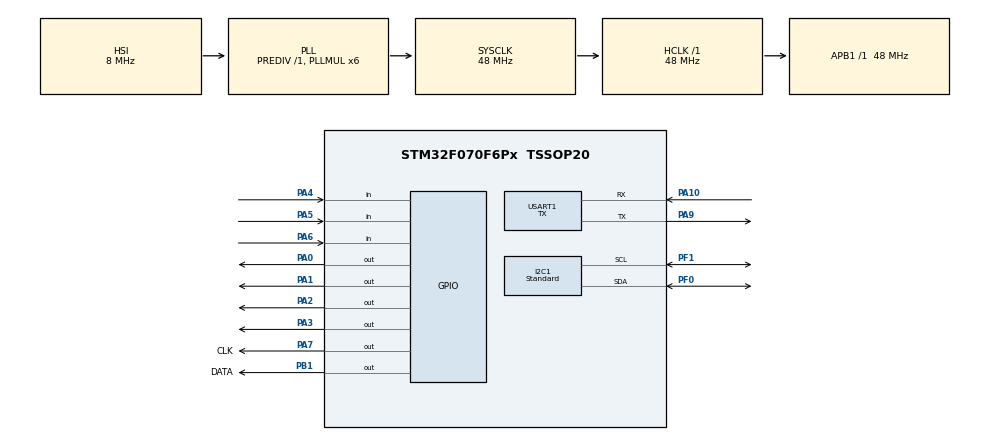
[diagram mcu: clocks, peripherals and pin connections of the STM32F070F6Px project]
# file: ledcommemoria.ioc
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I2C1.I2C_Speed_Mode=I2C_Standard
I2C1.Timing=0x2000090E
Mcu.Family=STM32F0
Mcu.Name=STM32F070F6Px
Mcu.Package=TSSOP20
PA0.Signal=GPIO_Output
PA1.Signal=GPIO_Output
PA10.Mode=Asynchronous
PA10.Signal=USART1_RX
PA13.Mode=Serial_Wire
PA13.Signal=SYS_SWDIO
PA14.Mode=Serial_Wire
PA14.Signal=SYS_SWCLK
PA2.Signal=GPIO_Output
PA3.Signal=GPIO_Output
PA4.GPIO_PuPd=GPIO_PULLUP
PA4.Signal=GPIO_Input
PA5.GPIO_PuPd=GPIO_PULLUP
PA5.Signal=GPIO_Input
PA6.GPIO_PuPd=GPIO_PULLUP
PA6.Signal=GPIO_Input
PA7.GPIO_Label=CLK
PA7.GPIO_PuPd=GPIO_NOPULL
PA7.GPIO_Speed=GPIO_SPEED_FREQ_HIGH
PA7.PinState=GPIO_PIN_RESET
PA7.Signal=GPIO_Output
PA9.Mode=Asynchronous
PA9.Signal=USART1_TX
PB1.GPIO_Label=DATA
PB1.GPIO_PuPd=GPIO_NOPULL
PB1.GPIO_Speed=GPIO_SPEED_FREQ_HIGH
PB1.PinState=GPIO_PIN_RESET
PB1.Signal=GPIO_Output
PF0-OSC_IN.Mode=I2C
PF0-OSC_IN.Signal=I2C1_SDA
PF1-OSC_OUT.Mode=I2C
PF1-OSC_OUT.Signal=I2C1_SCL
ProjectManager.HeapSize=0x200
ProjectManager.StackSize=0x400
ProjectManager.TargetToolchain=STM32CubeIDE
RCC.AHBFreq_Value=48000000
RCC.APB1Freq_Value=48000000
RCC.APB1TimFreq_Value=48000000
RCC.HCLKFreq_Value=48000000
RCC.PLLMUL=RCC_PLL_MUL6
RCC.SYSCLKFreq_VALUE=48000000
RCC.SYSCLKSource=RCC_SYSCLKSOURCE_PLLCLK
USART1.Mode=MODE_TX
USART1.OneBitSampling=UART_ONE_BIT_SAMPLE_ENABLE
USART1.OverSampling=UART_OVERSAMPLING_8
USART1.VirtualMode=VM_ASYNC
board=custom

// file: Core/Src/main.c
/* USER CODE BEGIN Header */
/**
  ******************************************************************************
  * @file           : main.c
  * @brief          : Main program body
  ******************************************************************************
  * @attention
  *
  * Copyright (c) 2022 STMicroelectronics.
  * All rights reserved.
  *
  * This software is licensed under terms that can be found in the LICENSE file
  * in the root directory of this software component.
  * If no LICENSE file comes with this software, it is provided AS-IS.
  *
  ******************************************************************************
  */
/* USER CODE END Header */
#include "main.h"

/* USER CODE BEGIN Includes */
#include "TM1637.h"
#include "EEPROM.h"
/* USER CODE END Includes */

I2C_HandleTypeDef hi2c1;

UART_HandleTypeDef huart1;

/* USER CODE BEGIN PV */
extern I2C_HandleTypeDef hi2c1;
#define EEPROM_I2C &hi2c1

// EEPROM ADDRESS (8bits)
#define EEPROM_ADDR 0x50

// Define the Page Size and number of pages
#define PAGE_SIZE 3     // in Bytes
#define PAGE_NUM  9    // number of pages

uint8_t StartMSG[] = "\n\n\n\n\n\nStarting program . . . \n ";
uint8_t Senhasalva[] = "Senha salva: ";
uint8_t Senharepetida[] = "Senha repetida nao salva: ";
uint8_t Loginfeito[] = "Login feito: ";
uint8_t Loginerro[] = "Senha incorreta: ";
uint8_t Memoriacheia[] = "Numero maximo de senhas alcancado, senha nao salva. ";
uint8_t Erro[] = "Erro ";
uint8_t Space[] = "\n\n ";

/* USER CODE END PV */

void SystemClock_Config(void);
static void MX_GPIO_Init(void);
static void MX_I2C1_Init(void);
static void MX_USART1_UART_Init(void);
/* USER CODE BEGIN PFP */

void reseta_banco_senha(){
	uint8_t dataWrite[5];
	for (int j=1; j<9; j++)
	  {
		for (int i=0; i<9; i++)
		  	  {
		  		  dataWrite[i] = 10;
		  	  }
	  	EEPROM_Write(j, 0, dataWrite, 9);
	  }
		for (int i=0; i<5; i++)
		  	  {
		  		  dataWrite[i] = 0;
		  	  }
	  	EEPROM_Write(0, 0, dataWrite, 9);
}

unsigned int salva_senha(int *vetorSenhas[], int conta){

	uint8_t dataRead[5];
	uint8_t dataWrite[5];
	uint8_t new[1];

	for (int i=0; i<5; i++)
		  {
			  dataWrite[i] = 10;

		  }

	for (int i=0; i<conta; i++)
	  {
		  dataWrite[i] = vetorSenhas[i];
		  dataWrite[i] = dataWrite[i]-48;
	  }
	dataWrite[4] = conta;

	  EEPROM_Read(0, 0, dataRead, 5);

	  if(dataRead[0]<8){
		  new[0] = dataRead[0]+1;
	  	  EEPROM_Write(0, 0, new, 1);
		  EEPROM_Write(new[0], 0, dataWrite, 5);

		  return 1;
	  }
	  else{
		  return 0;
	  }
}

unsigned int valida_senha(int *vetorSenhas[], int conta){

	uint8_t dataRead[5];
	uint8_t dataWrite[5];

	  int verif = 0;

		for (int i=0; i<5; i++)
			  {
				  dataWrite[i] = 10;

			  }

		for (int i=0; i<conta; i++)
		  {
			  dataWrite[i] = vetorSenhas[i];
			  dataWrite[i] = dataWrite[i]-48;
		  }
		dataWrite[4] = conta;

	  for (int j=1; j<9; j++)
	  {
		  EEPROM_Read(j, 0, dataRead, 9);
		  verif = 0;

		  for(int i=0; i<5; i++){

			  if(dataRead[i] == dataWrite[i]){
				  verif++;
			  }
		  }
		  if(verif==5){
			  return 1;
		  }
	  }
	  return 0;
}

/* USER CODE END PFP */

/* USER CODE BEGIN 0 */
volatile uint8_t displayColon = 0;
unsigned int data_read = 0;
uint8_t dataRead[5];
uint8_t dataWrite[5];
/* USER CODE END 0 */

int main(void)
{

  /* MCU Configuration--------------------------------------------------------*/

  /* Reset of all peripherals, Initializes the Flash interface and the Systick. */
  HAL_Init();

  /* Configure the system clock */
  SystemClock_Config();

  /* Initialize all configured peripherals */
  MX_GPIO_Init();
  MX_I2C1_Init();
  MX_USART1_UART_Init();
  /* USER CODE BEGIN 2 */

/*  reseta_banco_senha();

  for (int i=0; i<4; i++)
  {
	  dataWrite[i] = i+1;
  }

  EEPROM_Write(0, 0, dataWrite, 4);
  EEPROM_Read(0, 0, dataRead, 4);

  int verif = 0;
  for(int i=0; i<4; i++){
	  if(dataRead[i] == i+1){
		  verif++;
	  }
  }
  if(verif==4){
	  EEPROM_PageErase(0);
	  EEPROM_Read(0, 0, dataRead, 4);
  }
	*/

  //reseta_banco_senha();
  EEPROM_Read(0, 0, dataRead, 4);
  unsigned int senha = 0;

  unsigned int vetorSenhas[4];
  for (int i = 0; i < 4; ++i) {
	  vetorSenhas[i] = 0;
  }

  int conta = 0;
  data_read = 0;
  unsigned char myData;

  unsigned char digitArr[4];
  for (int i = 0; i < 4; ++i) {
      digitArr[i] = 0x08;
  }

  TM1637_Start();
  TM1637_WriteByte(0x40);
  TM1637_ReadResult();
  TM1637_Stop();

  TM1637_Start();
  TM1637_WriteByte(0xc0);
  TM1637_ReadResult();

  for (int i = 0; i < 4; ++i) {
      TM1637_WriteByte(digitArr[3 - i]);
      TM1637_ReadResult();
  }

  TM1637_Stop();

  HAL_UART_Transmit(&huart1, Space, sizeof(Space)-1, 100);
  HAL_UART_Transmit(&huart1, StartMSG, sizeof(StartMSG)-1, 100);
  HAL_UART_Transmit(&huart1, Space, sizeof(Space)-1, 100);

  //pisca pisca
  HAL_Delay(200);
  TM1637_SetBrightness(0);
  HAL_Delay(200);
  TM1637_SetBrightness(7);
  HAL_Delay(200);
  TM1637_SetBrightness(0);
  HAL_Delay(200);
  TM1637_SetBrightness(7);
  HAL_Delay(200);
  TM1637_SetBrightness(0);
  HAL_Delay(200);
  TM1637_SetBrightness(7);

  /* USER CODE END 2 */

  /* Infinite loop */
  while (1)
  {

    /* USER CODE BEGIN 3 */
	  char pressionado = 'a';

	      for (int i = 0; i < 4; i++) {

	        HAL_GPIO_WritePin(GPIOA, GPIO_PIN_0, GPIO_PIN_SET);
	        HAL_GPIO_WritePin(GPIOA, GPIO_PIN_1, GPIO_PIN_SET);
	        HAL_GPIO_WritePin(GPIOA, GPIO_PIN_2, GPIO_PIN_SET);
	        HAL_GPIO_WritePin(GPIOA, GPIO_PIN_3, GPIO_PIN_SET);
	        HAL_GPIO_WritePin(GPIOA, GPIO_PIN_4, GPIO_PIN_SET);
	        HAL_GPIO_WritePin(GPIOA, GPIO_PIN_5, GPIO_PIN_SET);
	        HAL_GPIO_WritePin(GPIOA, GPIO_PIN_6, GPIO_PIN_SET);

	        if (i == 0) {
	          HAL_GPIO_WritePin(GPIOA, GPIO_PIN_0, GPIO_PIN_RESET);
	        } else if (i == 1) {
	          HAL_GPIO_WritePin(GPIOA, GPIO_PIN_1, GPIO_PIN_RESET);
	        } else if (i == 2) {
	          HAL_GPIO_WritePin(GPIOA, GPIO_PIN_2, GPIO_PIN_RESET);
	        } else if (i == 3) {
	          HAL_GPIO_WritePin(GPIOA, GPIO_PIN_3, GPIO_PIN_RESET);
	        }

	        if (HAL_GPIO_ReadPin(GPIOA, GPIO_PIN_4) == 0) {

	          if (i == 0) {
	            pressionado = '1';
	            if(conta < 4){
	            	  digitArr[conta] = 0x06;

	            	  TM1637_Start();
	            	  TM1637_WriteByte(0x40);
	            	  TM1637_ReadResult();
	            	  TM1637_Stop();

	            	  TM1637_Start();
	            	  TM1637_WriteByte(0xc0);
	            	  TM1637_ReadResult();

	            	  for (int i = 0; i < 4; ++i) {
	            	      TM1637_WriteByte(digitArr[i]);
	            	      TM1637_ReadResult();
	            	  }

	            	  TM1637_Stop();

		            	senha = (senha*10)+1;
		            	vetorSenhas[conta]= 49;
		            	conta++;
		            	HAL_Delay(500);
	            }

	          } else if (i == 1) {
	            pressionado = '4';
	            if(conta < 4){
	            	  digitArr[conta] = 0x66;

	            	  TM1637_Start();
	            	  TM1637_WriteByte(0x40);
	            	  TM1637_ReadResult();
	            	  TM1637_Stop();

	            	  TM1637_Start();
	            	  TM1637_WriteByte(0xc0);
	            	  TM1637_ReadResult();

	            	  for (int i = 0; i < 4; ++i) {
	            	      TM1637_WriteByte(digitArr[i]);
	            	      TM1637_ReadResult();
	            	  }

	            	  TM1637_Stop();

		            	senha = (senha*10)+4;
		            	vetorSenhas[conta]= 52;
		            	conta++;
		            	HAL_Delay(500);
	            }

	          } else if (i == 2) {
	            pressionado = '7';
	            if(conta < 4){
					  digitArr[conta] = 0x07;

					  TM1637_Start();
					  TM1637_WriteByte(0x40);
					  TM1637_ReadResult();
					  TM1637_Stop();

					  TM1637_Start();
					  TM1637_WriteByte(0xc0);
					  TM1637_ReadResult();

					  for (int i = 0; i < 4; ++i) {
						  TM1637_WriteByte(digitArr[i]);
						  TM1637_ReadResult();
					  }

					  TM1637_Stop();

						senha = (senha*10)+7;
						vetorSenhas[conta]= 55;
						conta++;
						HAL_Delay(500);
				}

	          } else if (i == 3) {
	            pressionado = '*';

	            if(valida_senha(vetorSenhas,conta)==1){
						if(conta-1 == -1){//caso senha nula

			            	// ERRO

			            digitArr[0] = 0x79;
			            digitArr[1] = 0x50;
			            digitArr[2] = 0x50;
			            digitArr[3] = 0x5c;

			            TM1637_Start();
			            TM1637_WriteByte(0x40);
			            TM1637_ReadResult();
			            TM1637_Stop();

			            TM1637_Start();
			            TM1637_WriteByte(0xc0);
			            TM1637_ReadResult();

			            for (int i = 0; i < 4; ++i) {
			                TM1637_WriteByte(digitArr[i]);
			                TM1637_ReadResult();
			            }

			            TM1637_Stop();
							HAL_UART_Transmit(&huart1, Erro, sizeof(Erro)-1, 100);
							HAL_Delay(2000);
						}

						else{//senhas válidas

								// OPEN

							digitArr[0] = 0x5c;
							digitArr[1] = 0x73;
							digitArr[2] = 0x79;
							digitArr[3] = 0x54;

							TM1637_Start();
							TM1637_WriteByte(0x40);
							TM1637_ReadResult();
							TM1637_Stop();

							TM1637_Start();
							TM1637_WriteByte(0xc0);
							TM1637_ReadResult();

							for (int i = 0; i < 4; ++i) {
								TM1637_WriteByte(digitArr[i]);
								TM1637_ReadResult();
							}

							TM1637_Stop();
							HAL_UART_Transmit(&huart1, Loginfeito, sizeof(Loginfeito)-1, 100);

							for(int k=0;k<conta;k++){
								myData=vetorSenhas[k];
								HAL_UART_Transmit(&huart1, &myData, 1, 100);
							}

						}
						  HAL_UART_Transmit(&huart1, Space, sizeof(Space)-1, 100);
							HAL_Delay(2000);

	            }
	            if(valida_senha(vetorSenhas,conta)==0){
		            	if(conta-1 == -1){//caso senha nula

			            	// ERRO

			            digitArr[0] = 0x79;
			            digitArr[1] = 0x50;
			            digitArr[2] = 0x50;
			            digitArr[3] = 0x5c;

			            TM1637_Start();
			            TM1637_WriteByte(0x40);
			            TM1637_ReadResult();
			            TM1637_Stop();

			            TM1637_Start();
			            TM1637_WriteByte(0xc0);
			            TM1637_ReadResult();

			            for (int i = 0; i < 4; ++i) {
			                TM1637_WriteByte(digitArr[i]);
			                TM1637_ReadResult();
			            }

			            TM1637_Stop();
		            		HAL_UART_Transmit(&huart1, Erro, sizeof(Erro)-1, 100);
							HAL_Delay(2000);

		            	}
		            	else{//senhas válidas

			            	// ERRO

			            digitArr[0] = 0x79;
			            digitArr[1] = 0x50;
			            digitArr[2] = 0x50;
			            digitArr[3] = 0x5c;

			            TM1637_Start();
			            TM1637_WriteByte(0x40);
			            TM1637_ReadResult();
			            TM1637_Stop();

			            TM1637_Start();
			            TM1637_WriteByte(0xc0);
			            TM1637_ReadResult();

			            for (int i = 0; i < 4; ++i) {
			                TM1637_WriteByte(digitArr[i]);
			                TM1637_ReadResult();
			            }

			            TM1637_Stop();

							  HAL_UART_Transmit(&huart1, Loginerro, sizeof(Loginerro)-1, 100);

		            		for(int k=0;k<conta;k++){
		            			myData=vetorSenhas[k];
		            			HAL_UART_Transmit(&huart1, &myData, 1, 100);
		            		}
							HAL_Delay(2000);
		            	}
						HAL_UART_Transmit(&huart1, Space, sizeof(Space)-1, 100);

	            }

	            senha = 0;
	            for (int i = 0; i < 4; ++i) {
	                digitArr[i] = 0x08;
	            }

	            TM1637_Start();
	            TM1637_WriteByte(0x40);
	            TM1637_ReadResult();
	            TM1637_Stop();

	            TM1637_Start();
	            TM1637_WriteByte(0xc0);
	            TM1637_ReadResult();

	            for (int i = 0; i < 4; ++i) {
	                TM1637_WriteByte(digitArr[3 - i]);
	                TM1637_ReadResult();
	            }

	            TM1637_Stop();
	            conta = 0;

	            HAL_Delay(200);
	            TM1637_SetBrightness(0);
	            HAL_Delay(200);
	            TM1637_SetBrightness(7);
	            HAL_Delay(200);
	            TM1637_SetBrightness(0);
	            HAL_Delay(200);
	            TM1637_SetBrightness(7);
	            HAL_Delay(200);
	            TM1637_SetBrightness(0);
	            HAL_Delay(200);
	            TM1637_SetBrightness(7);
	          }
	        }else if (HAL_GPIO_ReadPin(GPIOA, GPIO_PIN_5) == 0) {
	          if (i == 0) {
	            pressionado = '2';
	            if(conta < 4){
					  digitArr[conta] = 0x5b;

					  TM1637_Start();
					  TM1637_WriteByte(0x40);
					  TM1637_ReadResult();
					  TM1637_Stop();

					  TM1637_Start();
					  TM1637_WriteByte(0xc0);
					  TM1637_ReadResult();

					  for (int i = 0; i < 4; ++i) {
						  TM1637_WriteByte(digitArr[i]);
						  TM1637_ReadResult();
					  }

					  TM1637_Stop();

						senha = (senha*10)+2;
						vetorSenhas[conta]= 50;
						conta++;
						HAL_Delay(500);
				}

	          } else if (i == 1) {
	            pressionado = '5';
	            if(conta < 4){
					  digitArr[conta] = 0x6d;

					  TM1637_Start();
					  TM1637_WriteByte(0x40);
					  TM1637_ReadResult();
					  TM1637_Stop();

					  TM1637_Start();
					  TM1637_WriteByte(0xc0);
					  TM1637_ReadResult();

					  for (int i = 0; i < 4; ++i) {
						  TM1637_WriteByte(digitArr[i]);
						  TM1637_ReadResult();
					  }

					  TM1637_Stop();

						senha = (senha*10)+5;
						vetorSenhas[conta]= 53;
						conta++;
						HAL_Delay(500);
				}

	          } else if (i == 2) {
	            pressionado = '8';
	            if(conta < 4){
					  digitArr[conta] = 0x7f;

					  TM1637_Start();
					  TM1637_WriteByte(0x40);
					  TM1637_ReadResult();
					  TM1637_Stop();

					  TM1637_Start();
					  TM1637_WriteByte(0xc0);
					  TM1637_ReadResult();

					  for (int i = 0; i < 4; ++i) {
						  TM1637_WriteByte(digitArr[i]);
						  TM1637_ReadResult();
					  }

					  TM1637_Stop();

						senha = (senha*10)+8;
						vetorSenhas[conta]= 56;
						conta++;
						HAL_Delay(500);
				}

	          } else if (i == 3) {
	            pressionado = '0';
	            if(conta < 4){
					  digitArr[conta] = 0x3f;

					  TM1637_Start();
					  TM1637_WriteByte(0x40);
					  TM1637_ReadResult();
					  TM1637_Stop();

					  TM1637_Start();
					  TM1637_WriteByte(0xc0);
					  TM1637_ReadResult();

					  for (int i = 0; i < 4; ++i) {
						  TM1637_WriteByte(digitArr[i]);
						  TM1637_ReadResult();
					  }

					  TM1637_Stop();

						senha = (senha*10)+0;
						vetorSenhas[conta]= 48;
						conta++;
						HAL_Delay(500);
				}

	          }
	        }else if (HAL_GPIO_ReadPin(GPIOA, GPIO_PIN_6) == 0) {
	          if (i == 0) {
	            pressionado = '3';
	            if(conta < 4){
					  digitArr[conta] = 0x4f;

					  TM1637_Start();
					  TM1637_WriteByte(0x40);
					  TM1637_ReadResult();
					  TM1637_Stop();

					  TM1637_Start();
					  TM1637_WriteByte(0xc0);
					  TM1637_ReadResult();

					  for (int i = 0; i < 4; ++i) {
						  TM1637_WriteByte(digitArr[i]);
						  TM1637_ReadResult();
					  }

					  TM1637_Stop();

						senha = (senha*10)+3;
						vetorSenhas[conta]= 51;
						conta++;
						HAL_Delay(500);
				}

	          } else if (i == 1) {
	            pressionado = '6';
	            if(conta < 4){
					  digitArr[conta] = 0x7d;

					  TM1637_Start();
					  TM1637_WriteByte(0x40);
					  TM1637_ReadResult();
					  TM1637_Stop();

					  TM1637_Start();
					  TM1637_WriteByte(0xc0);
					  TM1637_ReadResult();

					  for (int i = 0; i < 4; ++i) {
						  TM1637_WriteByte(digitArr[i]);
						  TM1637_ReadResult();
					  }

					  TM1637_Stop();

						senha = (senha*10)+6;
						vetorSenhas[conta]= 54;
						conta++;
						HAL_Delay(500);
				}

	          } else if (i == 2) {
	            pressionado = '9';
	            if(conta < 4){
					  digitArr[conta] = 0x6f;

					  TM1637_Start();
					  TM1637_WriteByte(0x40);
					  TM1637_ReadResult();
					  TM1637_Stop();

					  TM1637_Start();
					  TM1637_WriteByte(0xc0);
					  TM1637_ReadResult();

					  for (int i = 0; i < 4; ++i) {
						  TM1637_WriteByte(digitArr[i]);
						  TM1637_ReadResult();
					  }

					  TM1637_Stop();

						senha = (senha*10)+9;
						vetorSenhas[conta]= 57;
						conta++;
						HAL_Delay(500);
				}

	          } else if (i == 3) {
	            pressionado = '#';

            	//Quebra de linha

	            if(valida_senha(vetorSenhas,conta)==1){
						if(conta-1 == -1){//caso senha nula

								// ERRO

							digitArr[0] = 0x79;
							digitArr[1] = 0x50;
							digitArr[2] = 0x50;
							digitArr[3] = 0x5c;

							TM1637_Start();
							TM1637_WriteByte(0x40);
							TM1637_ReadResult();
							TM1637_Stop();

							TM1637_Start();
							TM1637_WriteByte(0xc0);
							TM1637_ReadResult();

							for (int i = 0; i < 4; ++i) {
								TM1637_WriteByte(digitArr[i]);
								TM1637_ReadResult();
							}

							TM1637_Stop();
							HAL_UART_Transmit(&huart1, Erro, sizeof(Erro)-1, 100);
							HAL_Delay(2000);

							}

						else{//senhas válidas

			            	// ERRO

			            digitArr[0] = 0x79;
			            digitArr[1] = 0x50;
			            digitArr[2] = 0x50;
			            digitArr[3] = 0x5c;

			            TM1637_Start();
			            TM1637_WriteByte(0x40);
			            TM1637_ReadResult();
			            TM1637_Stop();

			            TM1637_Start();
			            TM1637_WriteByte(0xc0);
			            TM1637_ReadResult();

			            for (int i = 0; i < 4; ++i) {
			                TM1637_WriteByte(digitArr[i]);
			                TM1637_ReadResult();
			            }

			            TM1637_Stop();

							HAL_UART_Transmit(&huart1, Senharepetida, sizeof(Senharepetida)-1, 100);

							for(int k=0;k<conta;k++){
								myData=vetorSenhas[k];
								HAL_UART_Transmit(&huart1, &myData, 1, 100);
							}

							HAL_Delay(2000);

						}
						  HAL_UART_Transmit(&huart1, Space, sizeof(Space)-1, 100);
	            }
	            if(valida_senha(vetorSenhas,conta)==0){
		            	if(conta-1 == -1){//caso senha nula

			            	// ERRO

			            digitArr[0] = 0x79;
			            digitArr[1] = 0x50;
			            digitArr[2] = 0x50;
			            digitArr[3] = 0x5c;

			            TM1637_Start();
			            TM1637_WriteByte(0x40);
			            TM1637_ReadResult();
			            TM1637_Stop();

			            TM1637_Start();
			            TM1637_WriteByte(0xc0);
			            TM1637_ReadResult();

			            for (int i = 0; i < 4; ++i) {
			                TM1637_WriteByte(digitArr[i]);
			                TM1637_ReadResult();
			            }

			            TM1637_Stop();
		            		HAL_UART_Transmit(&huart1, Erro, sizeof(Erro)-1, 100);
							HAL_Delay(2000);

		            	}
		            	else{//senhas válidas

		            		if(salva_senha(vetorSenhas,conta)==1){

				            	// DONE

				            digitArr[0] = 0x5e;
				            digitArr[1] = 0x5c;
				            digitArr[2] = 0x54;
				            digitArr[3] = 0x79;

				            TM1637_Start();
				            TM1637_WriteByte(0x40);
				            TM1637_ReadResult();
				            TM1637_Stop();

				            TM1637_Start();
				            TM1637_WriteByte(0xc0);
				            TM1637_ReadResult();

				            for (int i = 0; i < 4; ++i) {
				                TM1637_WriteByte(digitArr[i]);
				                TM1637_ReadResult();
				            }

				            TM1637_Stop();

								HAL_UART_Transmit(&huart1, Senhasalva, sizeof(Senhasalva)-1, 100);

			            		for(int k=0;k<conta;k++){
			            			myData=vetorSenhas[k];
			            			HAL_UART_Transmit(&huart1, &myData, 1, 100);
			            		}
		            		}
		            		else{

				            	// ERRO

				            digitArr[0] = 0x79;
				            digitArr[1] = 0x50;
				            digitArr[2] = 0x50;
				            digitArr[3] = 0x5c;

				            TM1637_Start();
				            TM1637_WriteByte(0x40);
				            TM1637_ReadResult();
				            TM1637_Stop();

				            TM1637_Start();
				            TM1637_WriteByte(0xc0);
				            TM1637_ReadResult();

				            for (int i = 0; i < 4; ++i) {
				                TM1637_WriteByte(digitArr[i]);
				                TM1637_ReadResult();
				            }

				            TM1637_Stop();

		            			HAL_UART_Transmit(&huart1, Memoriacheia, sizeof(Memoriacheia)-1, 100);
		            		}

		            	}
						HAL_UART_Transmit(&huart1, Space, sizeof(Space)-1, 100);
						HAL_Delay(2000);

	            }

	            //APAGAR

	            senha = 0;
	            for (int i = 0; i < 4; ++i) {
	                digitArr[i] = 0x08;
	            }

	            TM1637_Start();
	            TM1637_WriteByte(0x40);
	            TM1637_ReadResult();
	            TM1637_Stop();

	            TM1637_Start();
	            TM1637_WriteByte(0xc0);
	            TM1637_ReadResult();

	            for (int i = 0; i < 4; ++i) {
	                TM1637_WriteByte(digitArr[3 - i]);
	                TM1637_ReadResult();
	            }

	            TM1637_Stop();
	            conta = 0;

	            HAL_Delay(200);
	            TM1637_SetBrightness(0);
	            HAL_Delay(200);
	            TM1637_SetBrightness(7);
	            HAL_Delay(200);
	            TM1637_SetBrightness(0);
	            HAL_Delay(200);
	            TM1637_SetBrightness(7);
	            HAL_Delay(200);
	            TM1637_SetBrightness(0);
	            HAL_Delay(200);
	            TM1637_SetBrightness(7);

	          }
	        }

	      }
  }
  /* USER CODE END 3 */
}

void SystemClock_Config(void)
{
  RCC_OscInitTypeDef RCC_OscInitStruct = {0};
  RCC_ClkInitTypeDef RCC_ClkInitStruct = {0};
  RCC_PeriphCLKInitTypeDef PeriphClkInit = {0};

  /** Initializes the RCC Oscillators according to the specified parameters
  * in the RCC_OscInitTypeDef structure.
  */
  RCC_OscInitStruct.OscillatorType = RCC_OSCILLATORTYPE_HSI;
  RCC_OscInitStruct.HSIState = RCC_HSI_ON;
  RCC_OscInitStruct.HSICalibrationValue = RCC_HSICALIBRATION_DEFAULT;
  RCC_OscInitStruct.PLL.PLLState = RCC_PLL_ON;
  RCC_OscInitStruct.PLL.PLLSource = RCC_PLLSOURCE_HSI;
  RCC_OscInitStruct.PLL.PLLMUL = RCC_PLL_MUL6;
  RCC_OscInitStruct.PLL.PREDIV = RCC_PREDIV_DIV1;
  if (HAL_RCC_OscConfig(&RCC_OscInitStruct) != HAL_OK)
  {
    Error_Handler();
  }

  /** Initializes the CPU, AHB and APB buses clocks
  */
  RCC_ClkInitStruct.ClockType = RCC_CLOCKTYPE_HCLK|RCC_CLOCKTYPE_SYSCLK
                              |RCC_CLOCKTYPE_PCLK1;
  RCC_ClkInitStruct.SYSCLKSource = RCC_SYSCLKSOURCE_PLLCLK;
  RCC_ClkInitStruct.AHBCLKDivider = RCC_SYSCLK_DIV1;
  RCC_ClkInitStruct.APB1CLKDivider = RCC_HCLK_DIV1;

  if (HAL_RCC_ClockConfig(&RCC_ClkInitStruct, FLASH_LATENCY_1) != HAL_OK)
  {
    Error_Handler();
  }
  PeriphClkInit.PeriphClockSelection = RCC_PERIPHCLK_USART1|RCC_PERIPHCLK_I2C1;
  PeriphClkInit.Usart1ClockSelection = RCC_USART1CLKSOURCE_PCLK1;
  PeriphClkInit.I2c1ClockSelection = RCC_I2C1CLKSOURCE_HSI;
  if (HAL_RCCEx_PeriphCLKConfig(&PeriphClkInit) != HAL_OK)
  {
    Error_Handler();
  }
}

static void MX_I2C1_Init(void)
{

  hi2c1.Instance = I2C1;
  hi2c1.Init.Timing = 0x2000090E;
  hi2c1.Init.OwnAddress1 = 0;
  hi2c1.Init.AddressingMode = I2C_ADDRESSINGMODE_7BIT;
  hi2c1.Init.DualAddressMode = I2C_DUALADDRESS_DISABLE;
  hi2c1.Init.OwnAddress2 = 0;
  hi2c1.Init.OwnAddress2Masks = I2C_OA2_NOMASK;
  hi2c1.Init.GeneralCallMode = I2C_GENERALCALL_DISABLE;
  hi2c1.Init.NoStretchMode = I2C_NOSTRETCH_DISABLE;
  if (HAL_I2C_Init(&hi2c1) != HAL_OK)
  {
    Error_Handler();
  }

  /** Configure Analogue filter
  */
  if (HAL_I2CEx_ConfigAnalogFilter(&hi2c1, I2C_ANALOGFILTER_ENABLE) != HAL_OK)
  {
    Error_Handler();
  }

  /** Configure Digital filter
  */
  if (HAL_I2CEx_ConfigDigitalFilter(&hi2c1, 0) != HAL_OK)
  {
    Error_Handler();
  }

}

static void MX_USART1_UART_Init(void)
{

  huart1.Instance = USART1;
  huart1.Init.BaudRate = 38400;
  huart1.Init.WordLength = UART_WORDLENGTH_8B;
  huart1.Init.StopBits = UART_STOPBITS_1;
  huart1.Init.Parity = UART_PARITY_NONE;
  huart1.Init.Mode = UART_MODE_TX;
  huart1.Init.HwFlowCtl = UART_HWCONTROL_NONE;
  huart1.Init.OverSampling = UART_OVERSAMPLING_8;
  huart1.Init.OneBitSampling = UART_ONE_BIT_SAMPLE_ENABLE;
  huart1.AdvancedInit.AdvFeatureInit = UART_ADVFEATURE_NO_INIT;
  if (HAL_UART_Init(&huart1) != HAL_OK)
  {
    Error_Handler();
  }

}

static void MX_GPIO_Init(void)
{
  GPIO_InitTypeDef GPIO_InitStruct = {0};

  /* GPIO Ports Clock Enable */
  __HAL_RCC_GPIOF_CLK_ENABLE();
  __HAL_RCC_GPIOA_CLK_ENABLE();
  __HAL_RCC_GPIOB_CLK_ENABLE();

  /*Configure GPIO pin Output Level */
  HAL_GPIO_WritePin(GPIOA, GPIO_PIN_0|GPIO_PIN_1|GPIO_PIN_2|GPIO_PIN_3
                          |CLK_Pin, GPIO_PIN_RESET);

  /*Configure GPIO pin Output Level */
  HAL_GPIO_WritePin(DATA_GPIO_Port, DATA_Pin, GPIO_PIN_RESET);

  /*Configure GPIO pins : PA0 PA1 PA2 PA3 */
  GPIO_InitStruct.Pin = GPIO_PIN_0|GPIO_PIN_1|GPIO_PIN_2|GPIO_PIN_3;
  GPIO_InitStruct.Mode = GPIO_MODE_OUTPUT_PP;
  GPIO_InitStruct.Pull = GPIO_NOPULL;
  GPIO_InitStruct.Speed = GPIO_SPEED_FREQ_LOW;
  HAL_GPIO_Init(GPIOA, &GPIO_InitStruct);

  /*Configure GPIO pins : PA4 PA5 PA6 */
  GPIO_InitStruct.Pin = GPIO_PIN_4|GPIO_PIN_5|GPIO_PIN_6;
  GPIO_InitStruct.Mode = GPIO_MODE_INPUT;
  GPIO_InitStruct.Pull = GPIO_PULLUP;
  HAL_GPIO_Init(GPIOA, &GPIO_InitStruct);

  /*Configure GPIO pin : CLK_Pin */
  GPIO_InitStruct.Pin = CLK_Pin;
  GPIO_InitStruct.Mode = GPIO_MODE_OUTPUT_PP;
  GPIO_InitStruct.Pull = GPIO_NOPULL;
  GPIO_InitStruct.Speed = GPIO_SPEED_FREQ_HIGH;
  HAL_GPIO_Init(CLK_GPIO_Port, &GPIO_InitStruct);

  /*Configure GPIO pin : DATA_Pin */
  GPIO_InitStruct.Pin = DATA_Pin;
  GPIO_InitStruct.Mode = GPIO_MODE_OUTPUT_PP;
  GPIO_InitStruct.Pull = GPIO_NOPULL;
  GPIO_InitStruct.Speed = GPIO_SPEED_FREQ_HIGH;
  HAL_GPIO_Init(DATA_GPIO_Port, &GPIO_InitStruct);

}

void Error_Handler(void)
{
  __disable_irq();
  while (1)
  {
  }
}
